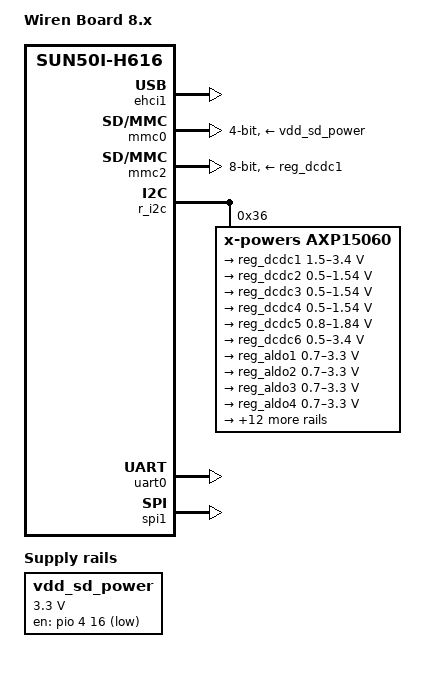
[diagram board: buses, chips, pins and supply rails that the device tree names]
// SPDX-License-Identifier: (GPL-2.0+ or MIT)
/*
 * Copyright (C) 2020 Arm Ltd.
 */

/dts-v1/;

#include "sun50i-h616.dtsi"

#include <dt-bindings/gpio/gpio.h>
#include <dt-bindings/interrupt-controller/arm-gic.h>
#include <dt-bindings/leds/common.h>

/ {
	model = "Wiren Board 8.x";
	compatible = "wirenboard,wirenboard-8xx", "allwinner,sun50i-h616";

	aliases {
		serial0 = &uart0;
		mmc1 = &mmc2;
		mmc0 = &mmc0;
	};

	chosen {
		stdout-path = "serial0:115200n8";
	};

	regulators {
		vdd_sd_power: vdd-sd-power {
			compatible = "regulator-fixed";
			gpio = <&pio 4 16 GPIO_ACTIVE_LOW>;  // PE16
			regulator-name = "vdd-sd-power";
			regulator-min-microvolt = <3300000>;
			regulator-max-microvolt = <3300000>;
			enable-active-low;
		};
	};
};

&nmi_intc {
    compatible = "allwinner,sun8i-v3s-nmi";
    interrupt-parent = <&gic>;
    interrupt-controller;
    #interrupt-cells = <2>;
    reg = <0x07010320 0x0c>;
    interrupts = <GIC_SPI 103 IRQ_TYPE_LEVEL_HIGH>;
};

&ehci1 {
	status = "okay";
};

/* USB 2 & 3 are on headers only. */

&mmc0 {
	vmmc-supply = <&vdd_sd_power>;
	vqmcc-supply = <&reg_dcdc1>;
	broken-cd;
	bus-width = <4>;
	status = "okay";
};

&mmc2 {
	vmmc-supply = <&reg_dcdc1>;
	vqmmc-supply = <&reg_aldo1>;
	mmc-ddr-1_8v;
	mmc-hs200-1_8v;
	mmc-hs400-1_8v;
	mmc-hs400-enhanced-strobe; // does not change anything on test board
	no-sdio;
	no-sd;
	bus-width = <8>;
	status = "okay";
};

&r_i2c {
	status = "okay";
	pinctrl-names = "default";
	pinctrl-0 = <&r_i2c_pins>;

	axp15060: pmic@36{
		compatible = "x-powers,axp15060";
		reg = <0x36>;
		interrupt-controller;
		#interrupt-cells = <1>;

		x-powers,self-working-mode;
		overtemp_shutdown = <1>;
		overtemp_value = <145>;

		regulators {
			reg_dcdc1: dcdc1 {
				regulator-name = "axp858-dcdc1";
				regulator-min-microvolt = <1500000>;
				regulator-max-microvolt = <3400000>;
				regulator-step-delay-us = <25>;
				regulator-final-delay-us = <50>;
				regulator-always-on;
				under_voltage_shutdown = <1>;
			};

			reg_dcdc2: dcdc2 {
				regulator-name = "axp858-dcdc2";
				regulator-min-microvolt = <500000>;
				regulator-max-microvolt = <1540000>;
				regulator-step-delay-us = <25>;
				regulator-final-delay-us = <50>;
				regulator-ramp-delay = <6001>; /* FIXME */
				regulator-always-on;
				under_voltage_shutdown = <1>;
			};

			reg_dcdc3: dcdc3 {
				regulator-name = "axp858-dcdc3";
				regulator-min-microvolt = <500000>;
				regulator-max-microvolt = <1540000>;
				regulator-step-delay-us = <25>;
				regulator-final-delay-us = <50>;
				regulator-always-on;
				under_voltage_shutdown = <1>;
			};

			reg_dcdc4: dcdc4 {
				regulator-name = "axp858-dcdc4";
				regulator-min-microvolt = <500000>;
				regulator-max-microvolt = <1540000>;
				regulator-step-delay-us = <25>;
				regulator-final-delay-us = <50>;
				regulator-enable-ramp-delay = <1000>;
				under_voltage_shutdown = <1>;
			};

			reg_dcdc5: dcdc5 {
				regulator-name = "axp858-dcdc5";
				regulator-min-microvolt = <800000>;
				regulator-max-microvolt = <1840000>;
				regulator-step-delay-us = <25>;
				regulator-final-delay-us = <50>;
				regulator-always-on;
				under_voltage_shutdown = <1>;
			};

			reg_dcdc6: dcdc6 {
				regulator-name = "axp858-dcdc6";
				regulator-min-microvolt = <500000>;
				regulator-max-microvolt = <3400000>;
				regulator-step-delay-us = <25>;
				regulator-final-delay-us = <50>;
				under_voltage_shutdown = <1>;
			};

			reg_aldo1: aldo1 {
				regulator-name = "axp858-aldo1";
				regulator-min-microvolt = <700000>;
				regulator-max-microvolt = <3300000>;
				regulator-step-delay-us = <25>;
				regulator-final-delay-us = <50>;
				regulator-always-on;
			};

			reg_aldo2: aldo2 {
				regulator-name = "axp858-aldo2";
				regulator-min-microvolt = <700000>;
				regulator-max-microvolt = <3300000>;
				regulator-step-delay-us = <25>;
				regulator-final-delay-us = <50>;
				regulator-always-on;
			};

			reg_aldo3: aldo3 {
				regulator-name = "axp858-aldo3";
				regulator-min-microvolt = <700000>;
				regulator-max-microvolt = <3300000>;
				regulator-step-delay-us = <25>;
				regulator-final-delay-us = <50>;
			};

			reg_aldo4: aldo4 {
				regulator-name = "axp858-aldo4";
				regulator-min-microvolt = <700000>;
				regulator-max-microvolt = <3300000>;
				regulator-step-delay-us = <25>;
				regulator-final-delay-us = <50>;
				regulator-always-on;
			};

			reg_aldo5: aldo5 {
				regulator-name = "axp858-aldo5";
				regulator-min-microvolt = <700000>;
				regulator-max-microvolt = <3300000>;
				regulator-step-delay-us = <25>;
				regulator-final-delay-us = <50>;
			};

			reg_bldo1: bldo1 {
				regulator-name = "axp858-bldo1";
				regulator-min-microvolt = <700000>;
				regulator-max-microvolt = <3300000>;
				regulator-step-delay-us = <25>;
				regulator-final-delay-us = <50>;
			};

			reg_bldo2: bldo2 {
				regulator-name = "axp858-bldo2";
				regulator-min-microvolt = <700000>;
				regulator-max-microvolt = <3300000>;
				regulator-step-delay-us = <25>;
				regulator-final-delay-us = <50>;
			};

			reg_bldo3: bldo3 {
				regulator-name = "axp858-bldo3";
				regulator-min-microvolt = <700000>;
				regulator-max-microvolt = <3300000>;
				regulator-step-delay-us = <25>;
				regulator-final-delay-us = <50>;
			};

			reg_bldo4: bldo4 {
				regulator-name = "axp858-bldo4";
				regulator-min-microvolt = <700000>;
				regulator-max-microvolt = <1800000>;
				regulator-step-delay-us = <25>;
				regulator-final-delay-us = <50>;
				regulator-always-on;
			};

			reg_bldo5: bldo5 {
				regulator-name = "axp858-bldo5";
				regulator-min-microvolt = <700000>;
				regulator-max-microvolt = <3300000>;
				regulator-step-delay-us = <25>;
				regulator-final-delay-us = <50>;
			};

			reg_cldo1: cldo1 {
				regulator-name = "axp858-cldo1";
				regulator-min-microvolt = <700000>;
				regulator-max-microvolt = <3300000>;
				regulator-step-delay-us = <25>;
				regulator-final-delay-us = <50>;
				regulator-always-on;
			};

			reg_cldo2: cldo2 {
				regulator-name = "axp858-cldo2";
				regulator-min-microvolt = <700000>;
				regulator-max-microvolt = <1800000>;
				regulator-step-delay-us = <25>;
				regulator-final-delay-us = <50>;
				regulator-always-on;
			};

			reg_cldo3: cldo3 {
				regulator-name = "axp858-cldo3";
				regulator-min-microvolt = <700000>;
				regulator-max-microvolt = <3300000>;
				regulator-step-delay-us = <25>;
				regulator-final-delay-us = <50>;
			};

			reg_cldo4: cldo4 {
				regulator-name = "axp858-cldo4";
				regulator-min-microvolt = <700000>;
				regulator-max-microvolt = <4200000>;
				regulator-step-delay-us = <25>;
				regulator-final-delay-us = <50>;
			};

			reg_cpusldo: cpusldo {
				regulator-name = "axp858-cpusldo";
				regulator-min-microvolt = <700000>;
				regulator-max-microvolt = <1400000>;
				regulator-step-delay-us = <25>;
				regulator-final-delay-us = <50>;
			};

			reg_sw: sw {
				regulator-name = "axp858-sw";
				regulator-always-on;
			};
		};
	};
};

&pio {
	vcc-pa-supply = <&reg_dcdc1>;
	vcc-pc-supply = <&reg_aldo1>;
	vcc-pd-supply = <&reg_dcdc1>, <&reg_bldo1>;
	vcc-pe-supply = <&reg_dcdc1>;
	vcc-pf-supply = <&reg_dcdc1>; // vcc-io
	vcc-pg-supply = <&reg_dcdc1>;
	vcc-ph-supply = <&reg_dcdc1>; // vcc-io
	vcc-pi-supply = <&reg_dcdc1>;
};

&uart0 {
	pinctrl-names = "default";
	pinctrl-0 = <&uart0_ph_pins>;
	status = "okay";
};

&spi1 {
	compatible = "allwinner,sun50i-h616-spi";
	pinctrl-names = "default";
	pinctrl-0 = <&spi1_pins &spi1_cs0_pin>;
	interrupts = <GIC_SPI 13 IRQ_TYPE_LEVEL_HIGH>;
	status = "okay";
};
